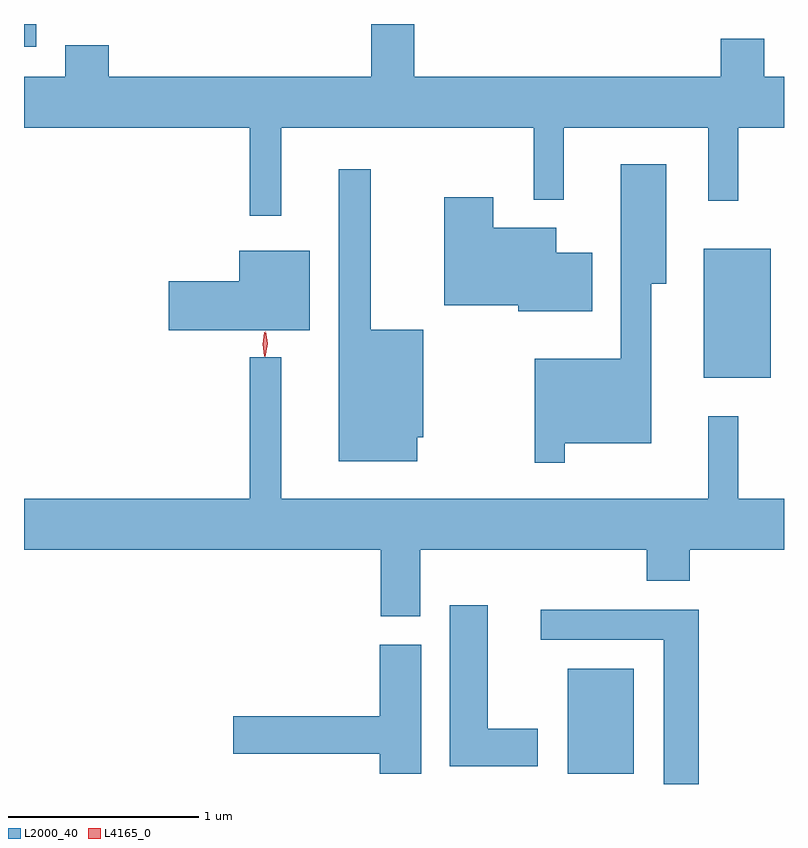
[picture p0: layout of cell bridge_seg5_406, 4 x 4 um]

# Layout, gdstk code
import gdstk
lib = gdstk.Library(unit=1e-6, precision=1e-09)
def R(c, l, rs):  # rectangles x0, y0, x1, y1
    for r in rs: c.add(gdstk.rectangle(r[:2], r[2:], *l))
def P(c, l, *ps):  # polygons
    for p in ps: c.add(gdstk.Polygon(p, *l))
L2000_40 = (2000, 40)
L4165_0 = (4165, 0)

bridge_seg5_406 = lib.new_cell('bridge_seg5_406')
R(bridge_seg5_406, L2000_40, [(207.776,1513.336,208.124,1513.889), (208.491,1515.421,208.844,1516.099), (204.914,1517.161,204.979,1517.282)])
P(bridge_seg5_406, L2000_40, [(206.269,1516.736),(207.596,1516.736),(207.596,1516.358),(207.754,1516.358),(207.754,1516.736),(208.516,1516.736),(208.516,1516.353),(208.674,1516.353),(208.674,1516.736),(208.914,1516.736),(208.914,1517.004),(208.809,1517.004),(208.809,1517.204),(208.581,1517.204),(208.581,1517.004),(206.969,1517.004),(206.969,1517.282),(206.741,1517.282),(206.741,1517.004),(205.359,1517.004),(205.359,1517.169),(205.131,1517.169),(205.131,1517.004),(204.914,1517.004),(204.914,1516.736),(206.101,1516.736),(206.101,1516.273),(206.269,1516.273)],
  [(207.759,1515.076),(208.214,1515.076),(208.214,1515.916),(208.294,1515.916),(208.294,1516.544),(208.056,1516.544),(208.056,1515.519),(207.601,1515.519),(207.601,1514.973),(207.759,1514.973)],
  [(206.984,1515.106),(207.014,1515.106),(207.014,1515.674),(206.739,1515.674),(206.739,1516.518),(206.571,1516.518),(206.571,1514.981),(206.984,1514.981)],
  [(207.904,1516.079),(207.714,1516.079),(207.714,1516.209),(207.384,1516.209),(207.384,1516.369),(207.126,1516.369),(207.126,1515.801),(207.516,1515.801),(207.516,1515.771),(207.904,1515.771)],
  [(206.419,1516.089),(206.046,1516.089),(206.046,1515.929),(205.676,1515.929),(205.676,1515.671),(206.419,1515.671)],
  [(206.999,1514.516),(208.191,1514.516),(208.191,1514.351),(208.419,1514.351),(208.419,1514.516),(208.914,1514.516),(208.914,1514.784),(208.674,1514.784),(208.674,1515.218),(208.516,1515.218),(208.516,1514.784),(206.269,1514.784),(206.269,1515.528),(206.101,1515.528),(206.101,1514.784),(204.914,1514.784),(204.914,1514.516),(206.791,1514.516),(206.791,1514.166),(206.999,1514.166)],
  [(207.619,1513.574),(207.354,1513.574),(207.354,1514.224),(207.156,1514.224),(207.156,1513.376),(207.619,1513.376)],
  [(208.464,1514.199),(207.633,1514.199),(207.633,1514.041),(208.281,1514.041),(208.281,1513.282),(208.464,1513.282)],
  [(207.004,1514.014),(206.786,1514.014),(206.786,1513.639),(206.016,1513.639),(206.016,1513.441),(206.786,1513.441),(206.786,1513.336),(207.004,1513.336)])
P(bridge_seg5_406, L4165_0, [(206.179,1515.533),(206.17,1515.596),(206.179,1515.659),(206.179,1515.66),(206.18,1515.659),(206.19,1515.596),(206.18,1515.533),(206.18,1515.533)],
  [(206.184,1515.53),(206.176,1515.598),(206.186,1515.666),(206.187,1515.666),(206.187,1515.666),(206.196,1515.598),(206.185,1515.53),(206.185,1515.53)])

lib.write_gds('bridge_seg5_406.gds')
